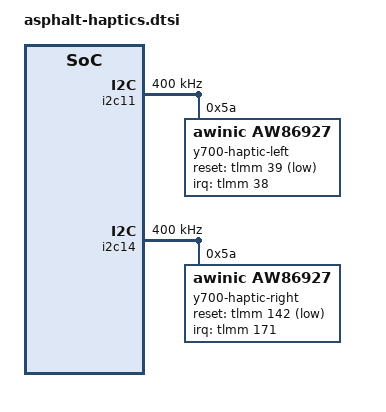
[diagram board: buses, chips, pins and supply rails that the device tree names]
// SPDX-License-Identifier: GPL-2.0-only
/*
 * Dual Awinic LRA haptics wiring for Lenovo Legion Y700 Gen 2 (TB320FC_PRC).
 * Matches stock CN350 runtime DT:
 *   - Left  (haptic_hv_l@5A): i2c@a8c000 (&i2c11), IRQ TLMM 38, RSTN TLMM 39
 *   - Right (haptic_hv_r@5A): i2c@a98000 (&i2c14), IRQ TLMM 171, RSTN TLMM 142
 *   - Stock f0_pre = 0x6a4 (170.0 Hz X-axis LRA)
 *   - Conservative boost target 8000 mV (below stock 8500 mV default)
 */

&qup_i2c11_data_clk {
	drive-strength = <2>;
	bias-pull-up;
};

&tlmm {
	haptic_l_irq_active: haptic-l-irq-active-state {
		pins = "gpio38";
		function = "gpio";
		drive-strength = <2>;
		bias-pull-up;
		input-enable;
	};

	haptic_r_irq_active: haptic-r-irq-active-state {
		pins = "gpio171";
		function = "gpio";
		drive-strength = <2>;
		bias-pull-up;
		input-enable;
	};
};

&i2c11 {
	clock-frequency = <400000>;
	status = "okay";

	haptic_l: vibrator@5a {
		compatible = "awinic,aw86927";
		reg = <0x5a>;
		label = "y700-haptic-left";
		interrupts-extended = <&tlmm 38 IRQ_TYPE_EDGE_FALLING>;
		reset-gpios = <&tlmm 39 GPIO_ACTIVE_LOW>;
		pinctrl-names = "default";
		pinctrl-0 = <&haptic_l_irq_active>;
		awinic,boost-max-microvolt = <8000000>;
		awinic,f0-hz = <170>;
	};
};

&i2c14 {
	clock-frequency = <400000>;
	status = "okay";

	haptic_r: vibrator@5a {
		compatible = "awinic,aw86927";
		reg = <0x5a>;
		label = "y700-haptic-right";
		interrupts-extended = <&tlmm 171 IRQ_TYPE_EDGE_FALLING>;
		reset-gpios = <&tlmm 142 GPIO_ACTIVE_LOW>;
		pinctrl-names = "default";
		pinctrl-0 = <&haptic_r_irq_active>;
		awinic,boost-max-microvolt = <8000000>;
		awinic,f0-hz = <170>;
	};
};
